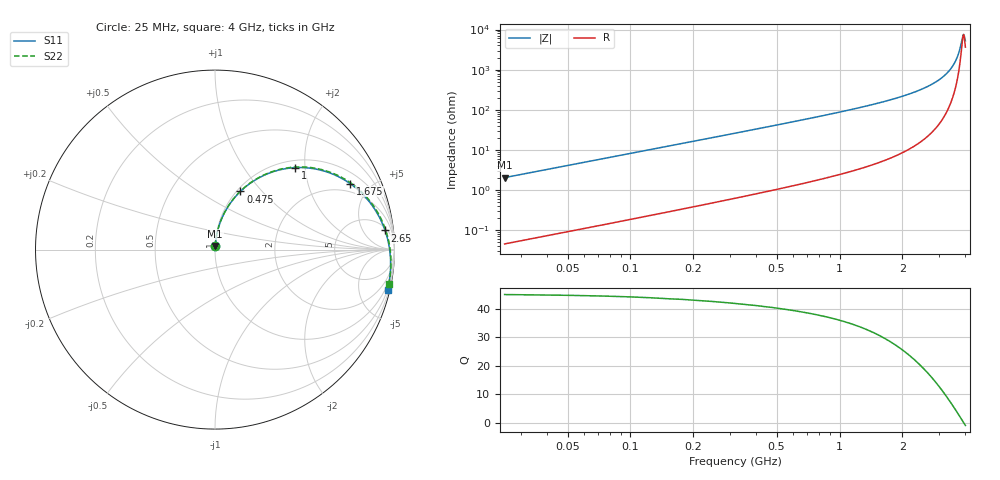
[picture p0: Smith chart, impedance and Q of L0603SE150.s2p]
!	AVX	Thin	Film	Operation	Date:	2004
!	Description:	"Series,"	Thin	"Film,"	"LGA,"	RF	Inductors
!	Part	Number:	L060315nH
!	25	MHz	-	4	GHz
!	Serial	Measurements
#	mhz	S	db	R	50
!	S11	S11	S21	S21	S12	S12	S22	S22
!	dB	Phase	dB	Phase	dB	Phase	dB	Phase
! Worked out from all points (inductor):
!   160 points, 25 MHz to 4 GHz, reference 50 ohm
!   read as one part in series: L = 12.9 nH near 25 MHz
!   highest Q = 45 at 25 MHz (marker M1), where L = 12.9 nH
!   self-resonance near 3.9 GHz
!   S11 on the Smith chart (normalised r, x): 25 MHz: 1.00, +0.04; 475 MHz: 1.04, +0.77; 1 GHz: 1.15, +1.77; 1.675 GHz: 1.52, +3.74; 2.65 GHz: 6, +15; 4 GHz: 0.51, -8.73
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25  -34.12 87.5  -0.01 -1.2  -0.01 -1.2  -34.12 87.5
50  -28.10 86.3  -0.01 -2.4  -0.01 -2.4  -28.10 86.3
75  -24.59 85.1  -0.03 -3.6  -0.03 -3.6  -24.59 85.1
100  -22.10 83.9  -0.04 -4.8  -0.04 -4.8  -22.10 83.9
150  -18.61 81.4  -0.08 -7.2  -0.08 -7.2  -18.61 81.5
275  -13.46 75.5  -0.25 -13.0  -0.25 -13.0  -13.46 75.6
475  -9.03 66.4  -0.66 -22.1  -0.66 -22.1  -9.03 66.6
700  -6.17 56.9  -1.33 -31.4  -1.33 -31.4  -6.17 57.2
1000  -3.91 45.7  -2.47 -42.4  -2.47 -42.4  -3.91 46.1
1350  -2.39 34.7  -4.06 -53.2  -4.06 -53.2  -2.39 35.3
1675  -1.54 26.1  -5.72 -61.6  -5.72 -61.6  -1.54 26.8
2025  -0.97 18.1  -7.70 -69.1  -7.70 -69.1  -0.97 19.0
2650  -0.41 6.4  -12.00 -79.6  -12.00 -79.6  -0.42 7.6
2675  -0.40 6.0  -12.20 -80.0  -12.20 -80.0  -0.40 7.2
3050  -0.24 0.1  -15.73 -84.4  -15.73 -84.4  -0.24 1.4
3350  -0.16 -4.3  -19.67 -86.2  -19.67 -86.2  -0.16 -2.8
3525  -0.14 -6.8  -22.94 -85.3  -22.94 -85.3  -0.14 -5.2
3675  -0.12 -8.8  -26.98 -81.0  -26.98 -81.0  -0.12 -7.1
3775  -0.12 -10.1  -30.96 -71.9  -30.96 -71.9  -0.12 -8.4
3900  -0.11 -11.7  -37.44 -26.0  -37.44 -26.0  -0.11 -10.0
3950  -0.11 -12.4  -37.15 9.6  -37.15 9.6  -0.11 -10.6
4000  -0.11 -13.0  -34.59 33.9  -34.59 33.9  -0.11 -11.2
